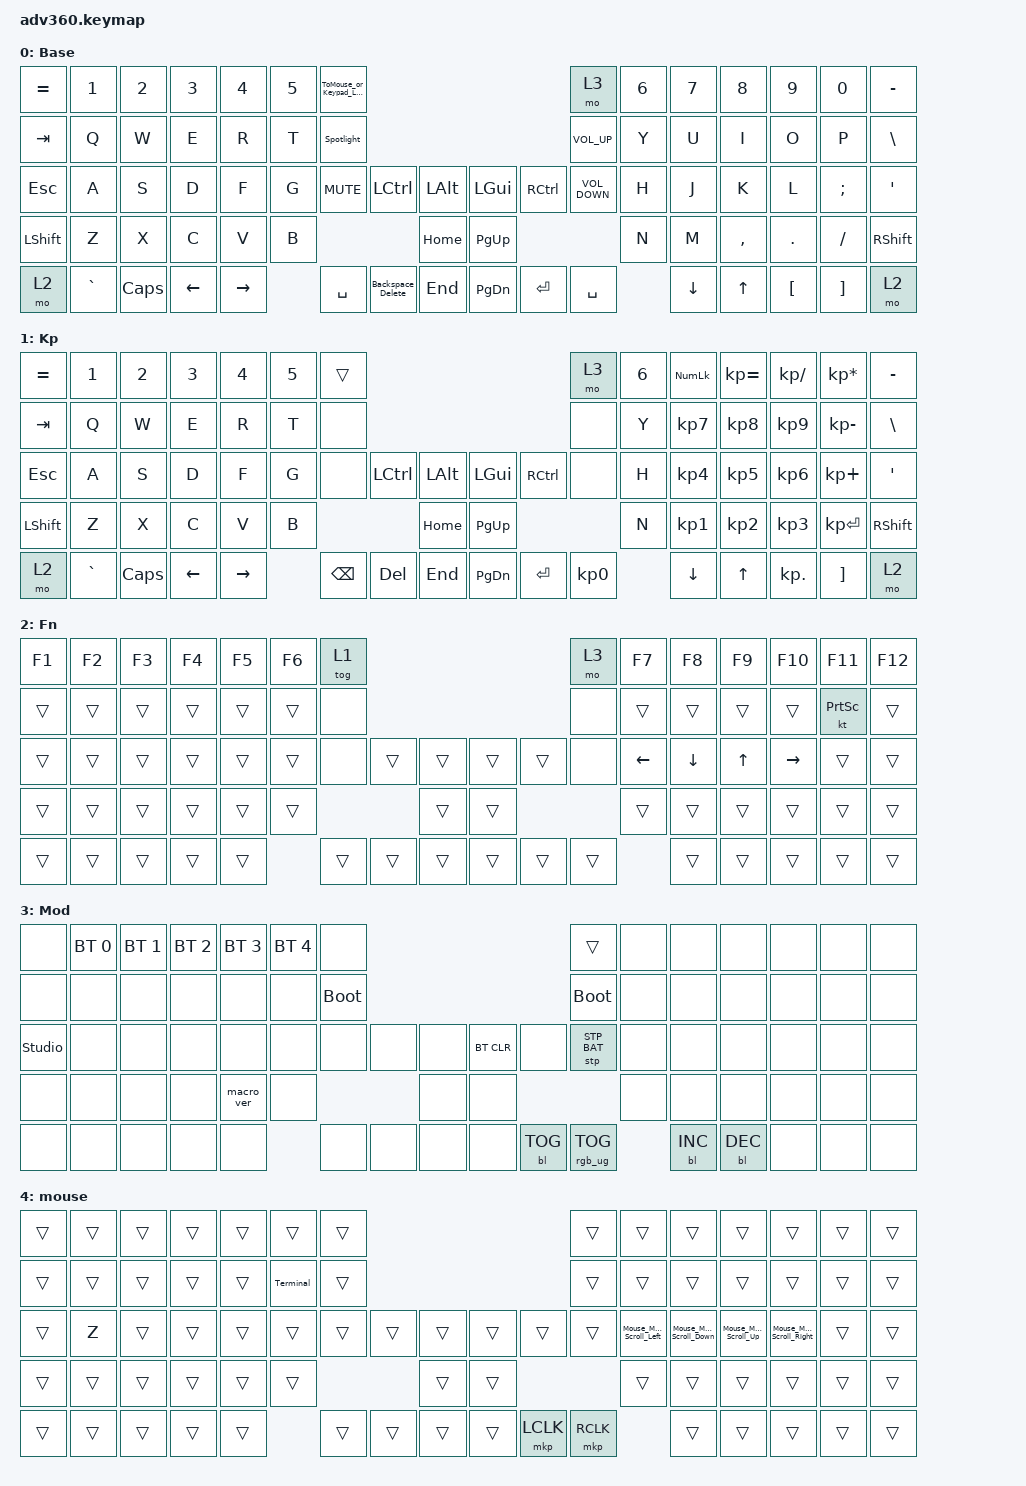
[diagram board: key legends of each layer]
#include <dt-bindings/zmk/stp.h>
#include <behaviors.dtsi>
#include <dt-bindings/zmk/backlight.h>
#include <dt-bindings/zmk/bt.h>
#include <dt-bindings/zmk/keys.h>
#include <dt-bindings/zmk/pointing.h>
#include <dt-bindings/zmk/rgb.h>

/ {
    behaviors {
        #include "macros.dtsi"
      #include "version.dtsi"

        hm: homerow_mods {
            compatible = "zmk,behavior-hold-tap";
            label = "HOMEROW_MODS";
            #binding-cells = <2>;
            tapping-term-ms = <200>;
            quick_tap_ms = <175>;
            flavor = "tap-preferred";
            bindings = <&kp>, <&kp>;
        };

        Backspace_Delete: Backspace_Delete {
            compatible = "zmk,behavior-mod-morph";
            label = "BACKSPACE_DELETE";
            bindings = <&kp BACKSPACE>, <&kp DELETE>;

            #binding-cells = <0>;
            mods = <(MOD_LSFT|MOD_RSFT)>;
        };

        ToMouse_or_Keypad_Layer: ToMouse_or_Keypad_Layer {
            compatible = "zmk,behavior-mod-morph";
            label = "TOMOUSE_OR_KEYPAD_LAYER";
            bindings = <&tog 1>, <&tog 4>;

            #binding-cells = <0>;
            mods = <(MOD_LSFT|MOD_RSFT)>;
        };

        Mouse_Move_Scroll_Up: Mouse_Move_Scroll_Up {
            compatible = "zmk,behavior-mod-morph";
            label = "MOUSE_MOVE_SCROLL_UP";
            bindings = <&mmv MOVE_UP>, <&msc SCRL_UP>;

            #binding-cells = <0>;
            mods = <(MOD_LSFT|MOD_RSFT)>;
        };

        Mouse_Move_Scroll_Down: Mouse_Move_Scroll_Down {
            compatible = "zmk,behavior-mod-morph";
            label = "MOUSE_MOVE_SCROLL_DOWN";
            bindings = <&mmv MOVE_DOWN>, <&msc SCRL_DOWN>;

            #binding-cells = <0>;
            mods = <(MOD_LSFT|MOD_RSFT)>;
        };

        Mouse_Move_Scroll_Left: Mouse_Move_Scroll_Left {
            compatible = "zmk,behavior-mod-morph";
            label = "MOUSE_MOVE_SCROLL_LEFT";
            bindings = <&mmv MOVE_LEFT>, <&msc SCRL_LEFT>;

            #binding-cells = <0>;
            mods = <(MOD_LSFT|MOD_RSFT)>;
        };

        Mouse_Move_Scroll_Right: Mouse_Move_Scroll_Right {
            compatible = "zmk,behavior-mod-morph";
            label = "MOUSE_MOVE_SCROLL_RIGHT";
            bindings = <&mmv MOVE_RIGHT>, <&msc SCRL_RIGHT>;

            #binding-cells = <0>;
            mods = <(MOD_LSFT|MOD_RSFT)>;
        };
    };

    macros {
        Spotlight: Spotlight {
            compatible = "zmk,behavior-macro";
            #binding-cells = <0>;
            bindings = <&sk RIGHT_COMMAND &kp SPACE>;
            label = "SPOTLIGHT";
        };

        Terminal: Terminal {
            compatible = "zmk,behavior-macro";
            #binding-cells = <0>;
            bindings = <&Spotlight &kp LS(T) &kp E &kp R &kp M &kp I &kp N &kp A &kp L &kp ENTER>;
            label = "TERMINAL";
        };
    };

    keymap {
        compatible = "zmk,keymap";

        default_layer {
            display-name = "Base";
            bindings = <
&kp EQUAL  &kp N1     &kp N2    &kp N3    &kp N4     &kp N5  &ToMouse_or_Keypad_Layer                                                         &mo 3              &kp N6  &kp N7          &kp N8        &kp N9    &kp N0    &kp MINUS
&kp TAB    &kp Q      &kp W     &kp E     &kp R      &kp T   &Spotlight                                                                       &kp C_VOLUME_UP    &kp Y   &kp U           &kp I         &kp O     &kp P     &kp BSLH
&kp ESC    &kp A      &kp S     &kp D     &kp F      &kp G   &kp C_MUTE                &kp LCTRL          &kp LALT      &kp LGUI   &kp RCTRL  &kp C_VOLUME_DOWN  &kp H   &kp J           &kp K         &kp L     &kp SEMI  &kp SQT
&kp LSHFT  &kp Z      &kp X     &kp C     &kp V      &kp B                                                &kp HOME      &kp PG_UP                                &kp N   &kp M           &kp COMMA     &kp DOT   &kp FSLH  &kp RSHFT
&mo 2      &kp GRAVE  &kp CAPS  &kp LEFT  &kp RIGHT          &kp SPACE                 &Backspace_Delete  &kp END       &kp PG_DN  &kp ENTER  &kp SPACE                  &kp DOWN_ARROW  &kp UP_ARROW  &kp LBKT  &kp RBKT  &mo 2
            >;
        };

        keypad {
            display-name = "Kp";
            bindings = <
&kp EQUAL  &kp N1     &kp N2    &kp N3    &kp N4     &kp N5  &trans                                                   &mo 3      &kp N6  &kp KP_NUM      &kp KP_EQUAL  &kp KP_DIVIDE  &kp KP_MULTIPLY  &kp MINUS
&kp TAB    &kp Q      &kp W     &kp E     &kp R      &kp T   &none                                                    &none      &kp Y   &kp KP_N7       &kp KP_N8     &kp KP_N9      &kp KP_MINUS     &kp BSLH
&kp ESC    &kp A      &kp S     &kp D     &kp F      &kp G   &none     &kp LCTRL  &kp LALT      &kp LGUI   &kp RCTRL  &none      &kp H   &kp KP_N4       &kp KP_N5     &kp KP_N6      &kp KP_PLUS      &kp SQT
&kp LSHFT  &kp Z      &kp X     &kp C     &kp V      &kp B                        &kp HOME      &kp PG_UP                        &kp N   &kp KP_N1       &kp KP_N2     &kp KP_N3      &kp KP_ENTER     &kp RSHFT
&mo 2      &kp GRAVE  &kp CAPS  &kp LEFT  &kp RIGHT          &kp BSPC  &kp DEL    &kp END       &kp PG_DN  &kp ENTER  &kp KP_N0          &kp DOWN_ARROW  &kp UP_ARROW  &kp KP_DOT     &kp RBKT         &mo 2
            >;
        };

        fn {
            display-name = "Fn";
            bindings = <
&kp F1  &kp F2  &kp F3  &kp F4  &kp F5  &kp F6  &tog 1                                      &mo 3   &kp F7          &kp F8          &kp F9        &kp F10          &kp F11          &kp F12
&trans  &trans  &trans  &trans  &trans  &trans  &none                                       &none   &trans          &trans          &trans        &trans           &kt PRINTSCREEN  &trans
&trans  &trans  &trans  &trans  &trans  &trans  &none   &trans  &trans      &trans  &trans  &none   &kp LEFT_ARROW  &kp DOWN_ARROW  &kp UP_ARROW  &kp RIGHT_ARROW  &trans           &trans
&trans  &trans  &trans  &trans  &trans  &trans                  &trans      &trans                  &trans          &trans          &trans        &trans           &trans           &trans
&trans  &trans  &trans  &trans  &trans          &trans  &trans  &trans      &trans  &trans  &trans                  &trans          &trans        &trans           &trans           &trans
            >;
        };

        mod {
            display-name = "Mod";
            bindings = <
&none           &bt BT_SEL 0  &bt BT_SEL 1  &bt BT_SEL 2  &bt BT_SEL 3  &bt BT_SEL 4  &none                                                  &trans           &none  &none       &none       &none  &none  &none
&none           &none         &none         &none         &none         &none         &bootloader                                            &bootloader      &none  &none       &none       &none  &none  &none
&studio_unlock  &none         &none         &none         &none         &none         &none        &none  &none      &bt BT_CLR  &none       &stp STP_BAT     &none  &none       &none       &none  &none  &none
&none           &none         &none         &none         &macro_ver    &none                             &none      &none                                    &none  &none       &none       &none  &none  &none
&none           &none         &none         &none         &none                       &none        &none  &none      &none       &bl BL_TOG  &rgb_ug RGB_TOG         &bl BL_INC  &bl BL_DEC  &none  &none  &none
            >;
        };

        mouse {
            bindings = <
&trans  &trans  &trans  &trans  &trans  &trans     &trans                                         &trans     &trans                   &trans                   &trans                 &trans                    &trans  &trans
&trans  &trans  &trans  &trans  &trans  &Terminal  &trans                                         &trans     &trans                   &trans                   &trans                 &trans                    &trans  &trans
&trans  &kp Z   &trans  &trans  &trans  &trans     &trans  &trans  &trans      &trans  &trans     &trans     &Mouse_Move_Scroll_Left  &Mouse_Move_Scroll_Down  &Mouse_Move_Scroll_Up  &Mouse_Move_Scroll_Right  &trans  &trans
&trans  &trans  &trans  &trans  &trans  &trans                     &trans      &trans                        &trans                   &trans                   &trans                 &trans                    &trans  &trans
&trans  &trans  &trans  &trans  &trans             &trans  &trans  &trans      &trans  &mkp LCLK  &mkp RCLK                           &trans                   &trans                 &trans                    &trans  &trans
            >;
        };
    };
};
